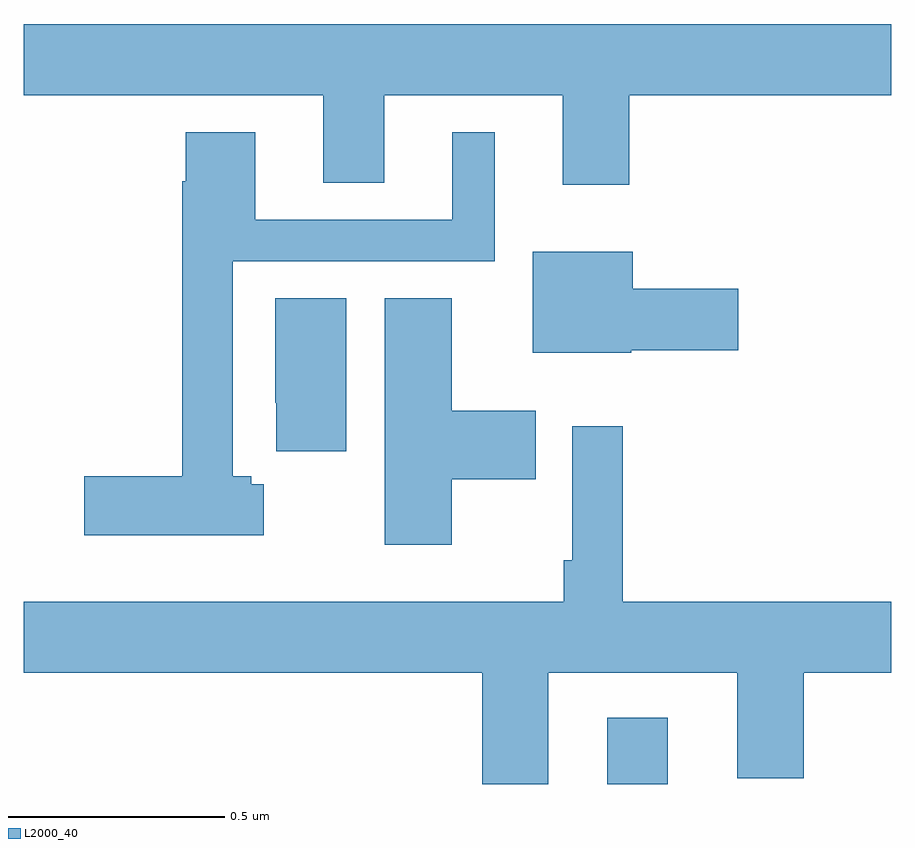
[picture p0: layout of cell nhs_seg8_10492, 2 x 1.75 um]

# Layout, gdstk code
import gdstk
lib = gdstk.Library(unit=1e-6, precision=1e-09)
def R(c, l, rs):  # rectangles x0, y0, x1, y1
    for r in rs: c.add(gdstk.rectangle(r[:2], r[2:], *l))
def P(c, l, *ps):  # polygons
    for p in ps: c.add(gdstk.Polygon(p, *l))
L2000_40 = (2000, 40)

nhs_seg8_10492 = lib.new_cell('nhs_seg8_10492')
R(nhs_seg8_10492, L2000_40, [(251.345,1126.9,251.485,1127.053)])
P(nhs_seg8_10492, L2000_40, [(251.396,1128.488),(252,1128.488),(252,1128.652),(250,1128.652),(250,1128.488),(250.691,1128.488),(250.691,1128.286),(250.831,1128.286),(250.831,1128.488),(251.243,1128.488),(251.243,1128.282),(251.396,1128.282)],
  [(250.553,1127.591),(250.524,1127.591),(250.524,1127.61),(250.482,1127.61),(250.482,1128.105),(251.086,1128.105),(251.086,1128.403),(250.988,1128.403),(250.988,1128.201),(250.534,1128.201),(250.534,1128.403),(250.373,1128.403),(250.373,1128.29),(250.366,1128.29),(250.366,1127.609),(250.14,1127.609),(250.14,1127.474),(250.553,1127.474)],
  [(251.4,1127.9),(251.647,1127.9),(251.647,1128.042),(251.404,1128.042),(251.404,1128.127),(251.174,1128.127),(251.174,1127.894),(251.4,1127.894)],
  [(250.744,1128.02),(250.58,1128.02),(250.58,1127.779),(250.582,1127.779),(250.582,1127.667),(250.744,1127.667)],
  [(250.987,1127.603),(251.18,1127.603),(251.18,1127.761),(250.987,1127.761),(250.987,1128.02),(250.832,1128.02),(250.832,1127.451),(250.987,1127.451)],
  [(251.209,1127.156),(251.645,1127.156),(251.645,1126.913),(251.798,1126.913),(251.798,1127.156),(252,1127.156),(252,1127.32),(251.381,1127.32),(251.381,1127.725),(251.265,1127.725),(251.265,1127.416),(251.245,1127.416),(251.245,1127.32),(250,1127.32),(250,1127.156),(251.057,1127.156),(251.057,1126.9),(251.209,1126.9)])

lib.write_gds('nhs_seg8_10492.gds')
